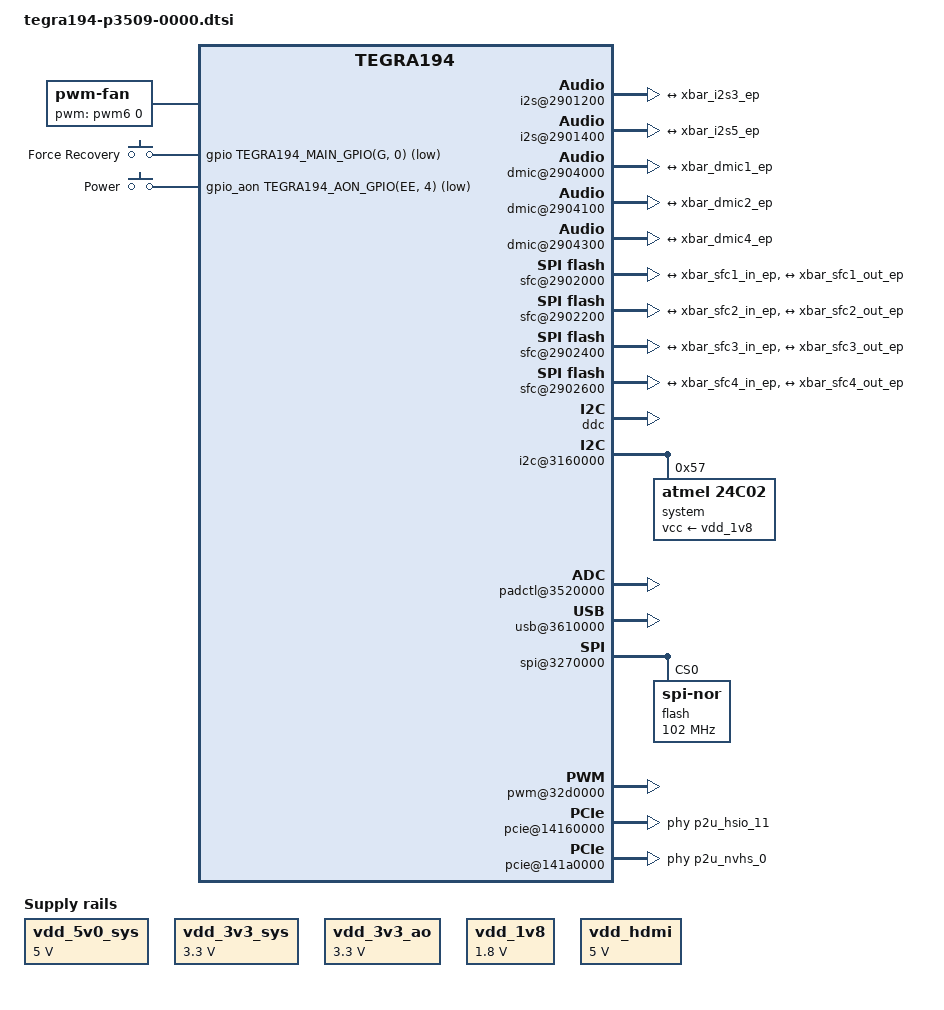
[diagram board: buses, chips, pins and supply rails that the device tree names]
// SPDX-License-Identifier: GPL-2.0

#include <dt-bindings/input/linux-event-codes.h>
#include <dt-bindings/input/gpio-keys.h>

/ {
	bus@0 {
		aconnect@2900000 {
			status = "okay";

			dma-controller@2930000 {
				status = "okay";
			};

			interrupt-controller@2a40000 {
				status = "okay";
			};

			ahub@2900800 {
				status = "okay";

				ports {
					#address-cells = <1>;
					#size-cells = <0>;

					port@0 {
						reg = <0x0>;

						xbar_admaif0_ep: endpoint {
							remote-endpoint = <&admaif0_ep>;
						};
					};

					port@1 {
						reg = <0x1>;

						xbar_admaif1_ep: endpoint {
							remote-endpoint = <&admaif1_ep>;
						};
					};

					port@2 {
						reg = <0x2>;

						xbar_admaif2_ep: endpoint {
							remote-endpoint = <&admaif2_ep>;
						};
					};

					port@3 {
						reg = <0x3>;

						xbar_admaif3_ep: endpoint {
							remote-endpoint = <&admaif3_ep>;
						};
					};

					port@4 {
						reg = <0x4>;

						xbar_admaif4_ep: endpoint {
							remote-endpoint = <&admaif4_ep>;
						};
					};

					port@5 {
						reg = <0x5>;

						xbar_admaif5_ep: endpoint {
							remote-endpoint = <&admaif5_ep>;
						};
					};

					port@6 {
						reg = <0x6>;

						xbar_admaif6_ep: endpoint {
							remote-endpoint = <&admaif6_ep>;
						};
					};

					port@7 {
						reg = <0x7>;

						xbar_admaif7_ep: endpoint {
							remote-endpoint = <&admaif7_ep>;
						};
					};

					port@8 {
						reg = <0x8>;

						xbar_admaif8_ep: endpoint {
							remote-endpoint = <&admaif8_ep>;
						};
					};

					port@9 {
						reg = <0x9>;

						xbar_admaif9_ep: endpoint {
							remote-endpoint = <&admaif9_ep>;
						};
					};

					port@a {
						reg = <0xa>;

						xbar_admaif10_ep: endpoint {
							remote-endpoint = <&admaif10_ep>;
						};
					};

					port@b {
						reg = <0xb>;

						xbar_admaif11_ep: endpoint {
							remote-endpoint = <&admaif11_ep>;
						};
					};

					port@c {
						reg = <0xc>;

						xbar_admaif12_ep: endpoint {
							remote-endpoint = <&admaif12_ep>;
						};
					};

					port@d {
						reg = <0xd>;

						xbar_admaif13_ep: endpoint {
							remote-endpoint = <&admaif13_ep>;
						};
					};

					port@e {
						reg = <0xe>;

						xbar_admaif14_ep: endpoint {
							remote-endpoint = <&admaif14_ep>;
						};
					};

					port@f {
						reg = <0xf>;

						xbar_admaif15_ep: endpoint {
							remote-endpoint = <&admaif15_ep>;
						};
					};

					port@10 {
						reg = <0x10>;

						xbar_admaif16_ep: endpoint {
							remote-endpoint = <&admaif16_ep>;
						};
					};

					port@11 {
						reg = <0x11>;

						xbar_admaif17_ep: endpoint {
							remote-endpoint = <&admaif17_ep>;
						};
					};

					port@12 {
						reg = <0x12>;

						xbar_admaif18_ep: endpoint {
							remote-endpoint = <&admaif18_ep>;
						};
					};

					port@13 {
						reg = <0x13>;

						xbar_admaif19_ep: endpoint {
							remote-endpoint = <&admaif19_ep>;
						};
					};

					xbar_i2s3_port: port@16 {
						reg = <0x16>;

						xbar_i2s3_ep: endpoint {
							remote-endpoint = <&i2s3_cif_ep>;
						};
					};

					xbar_i2s5_port: port@18 {
						reg = <0x18>;

						xbar_i2s5_ep: endpoint {
							remote-endpoint = <&i2s5_cif_ep>;
						};
					};

					xbar_dmic1_port: port@1a {
						reg = <0x1a>;

						xbar_dmic1_ep: endpoint {
							remote-endpoint = <&dmic1_cif_ep>;
						};
					};

					xbar_dmic2_port: port@1b {
						reg = <0x1b>;

						xbar_dmic2_ep: endpoint {
							remote-endpoint = <&dmic2_cif_ep>;
						};
					};

					xbar_dmic4_port: port@1d {
						reg = <0x1d>;

						xbar_dmic4_ep: endpoint {
							remote-endpoint = <&dmic4_cif_ep>;
						};
					};

					xbar_dspk1_port: port@1e {
						reg = <0x1e>;

						xbar_dspk1_ep: endpoint {
							remote-endpoint = <&dspk1_cif_ep>;
						};
					};

					xbar_dspk2_port: port@1f {
						reg = <0x1f>;

						xbar_dspk2_ep: endpoint {
							remote-endpoint = <&dspk2_cif_ep>;
						};
					};

					xbar_sfc1_in_port: port@20 {
						reg = <0x20>;

						xbar_sfc1_in_ep: endpoint {
							remote-endpoint = <&sfc1_cif_in_ep>;
						};
					};

					port@21 {
						reg = <0x21>;

						xbar_sfc1_out_ep: endpoint {
							remote-endpoint = <&sfc1_cif_out_ep>;
						};
					};

					xbar_sfc2_in_port: port@22 {
						reg = <0x22>;

						xbar_sfc2_in_ep: endpoint {
							remote-endpoint = <&sfc2_cif_in_ep>;
						};
					};

					port@23 {
						reg = <0x23>;

						xbar_sfc2_out_ep: endpoint {
							remote-endpoint = <&sfc2_cif_out_ep>;
						};
					};

					xbar_sfc3_in_port: port@24 {
						reg = <0x24>;

						xbar_sfc3_in_ep: endpoint {
							remote-endpoint = <&sfc3_cif_in_ep>;
						};
					};

					port@25 {
						reg = <0x25>;

						xbar_sfc3_out_ep: endpoint {
							remote-endpoint = <&sfc3_cif_out_ep>;
						};
					};

					xbar_sfc4_in_port: port@26 {
						reg = <0x26>;

						xbar_sfc4_in_ep: endpoint {
							remote-endpoint = <&sfc4_cif_in_ep>;
						};
					};

					port@27 {
						reg = <0x27>;

						xbar_sfc4_out_ep: endpoint {
							remote-endpoint = <&sfc4_cif_out_ep>;
						};
					};

					xbar_mvc1_in_port: port@28 {
						reg = <0x28>;

						xbar_mvc1_in_ep: endpoint {
							remote-endpoint = <&mvc1_cif_in_ep>;
						};
					};

					port@29 {
						reg = <0x29>;

						xbar_mvc1_out_ep: endpoint {
							remote-endpoint = <&mvc1_cif_out_ep>;
						};
					};

					xbar_mvc2_in_port: port@2a {
						reg = <0x2a>;

						xbar_mvc2_in_ep: endpoint {
							remote-endpoint = <&mvc2_cif_in_ep>;
						};
					};

					port@2b {
						reg = <0x2b>;

						xbar_mvc2_out_ep: endpoint {
							remote-endpoint = <&mvc2_cif_out_ep>;
						};
					};

					xbar_amx1_in1_port: port@2c {
						reg = <0x2c>;

						xbar_amx1_in1_ep: endpoint {
							remote-endpoint = <&amx1_in1_ep>;
						};
					};

					xbar_amx1_in2_port: port@2d {
						reg = <0x2d>;

						xbar_amx1_in2_ep: endpoint {
							remote-endpoint = <&amx1_in2_ep>;
						};
					};

					xbar_amx1_in3_port: port@2e {
						reg = <0x2e>;

						xbar_amx1_in3_ep: endpoint {
							remote-endpoint = <&amx1_in3_ep>;
						};
					};

					xbar_amx1_in4_port: port@2f {
						reg = <0x2f>;

						xbar_amx1_in4_ep: endpoint {
							remote-endpoint = <&amx1_in4_ep>;
						};
					};

					port@30 {
						reg = <0x30>;

						xbar_amx1_out_ep: endpoint {
							remote-endpoint = <&amx1_out_ep>;
						};
					};

					xbar_amx2_in1_port: port@31 {
						reg = <0x31>;

						xbar_amx2_in1_ep: endpoint {
							remote-endpoint = <&amx2_in1_ep>;
						};
					};

					xbar_amx2_in2_port: port@32 {
						reg = <0x32>;

						xbar_amx2_in2_ep: endpoint {
							remote-endpoint = <&amx2_in2_ep>;
						};
					};

					xbar_amx2_in3_port: port@33 {
						reg = <0x33>;

						xbar_amx2_in3_ep: endpoint {
							remote-endpoint = <&amx2_in3_ep>;
						};
					};

					xbar_amx2_in4_port: port@34 {
						reg = <0x34>;

						xbar_amx2_in4_ep: endpoint {
							remote-endpoint = <&amx2_in4_ep>;
						};
					};

					port@35 {
						reg = <0x35>;

						xbar_amx2_out_ep: endpoint {
							remote-endpoint = <&amx2_out_ep>;
						};
					};

					xbar_amx3_in1_port: port@36 {
						reg = <0x36>;

						xbar_amx3_in1_ep: endpoint {
							remote-endpoint = <&amx3_in1_ep>;
						};
					};

					xbar_amx3_in2_port: port@37 {
						reg = <0x37>;

						xbar_amx3_in2_ep: endpoint {
							remote-endpoint = <&amx3_in2_ep>;
						};
					};

					xbar_amx3_in3_port: port@38 {
						reg = <0x38>;

						xbar_amx3_in3_ep: endpoint {
							remote-endpoint = <&amx3_in3_ep>;
						};
					};

					xbar_amx3_in4_port: port@39 {
						reg = <0x39>;

						xbar_amx3_in4_ep: endpoint {
							remote-endpoint = <&amx3_in4_ep>;
						};
					};

					port@3a {
						reg = <0x3a>;

						xbar_amx3_out_ep: endpoint {
							remote-endpoint = <&amx3_out_ep>;
						};
					};

					xbar_amx4_in1_port: port@3b {
						reg = <0x3b>;

						xbar_amx4_in1_ep: endpoint {
							remote-endpoint = <&amx4_in1_ep>;
						};
					};

					xbar_amx4_in2_port: port@3c {
						reg = <0x3c>;

						xbar_amx4_in2_ep: endpoint {
							remote-endpoint = <&amx4_in2_ep>;
						};
					};

					xbar_amx4_in3_port: port@3d {
						reg = <0x3d>;

						xbar_amx4_in3_ep: endpoint {
							remote-endpoint = <&amx4_in3_ep>;
						};
					};

					xbar_amx4_in4_port: port@3e {
						reg = <0x3e>;

						xbar_amx4_in4_ep: endpoint {
							remote-endpoint = <&amx4_in4_ep>;
						};
					};

					port@3f {
						reg = <0x3f>;

						xbar_amx4_out_ep: endpoint {
							remote-endpoint = <&amx4_out_ep>;
						};
					};

					xbar_adx1_in_port: port@40 {
						reg = <0x40>;

						xbar_adx1_in_ep: endpoint {
							remote-endpoint = <&adx1_in_ep>;
						};
					};

					port@41 {
						reg = <0x41>;

						xbar_adx1_out1_ep: endpoint {
							remote-endpoint = <&adx1_out1_ep>;
						};
					};

					port@42 {
						reg = <0x42>;

						xbar_adx1_out2_ep: endpoint {
							remote-endpoint = <&adx1_out2_ep>;
						};
					};

					port@43 {
						reg = <0x43>;

						xbar_adx1_out3_ep: endpoint {
							remote-endpoint = <&adx1_out3_ep>;
						};
					};

					port@44 {
						reg = <0x44>;

						xbar_adx1_out4_ep: endpoint {
							remote-endpoint = <&adx1_out4_ep>;
						};
					};

					xbar_adx2_in_port: port@45 {
						reg = <0x45>;

						xbar_adx2_in_ep: endpoint {
							remote-endpoint = <&adx2_in_ep>;
						};
					};

					port@46 {
						reg = <0x46>;

						xbar_adx2_out1_ep: endpoint {
							remote-endpoint = <&adx2_out1_ep>;
						};
					};

					port@47 {
						reg = <0x47>;

						xbar_adx2_out2_ep: endpoint {
							remote-endpoint = <&adx2_out2_ep>;
						};
					};

					port@48 {
						reg = <0x48>;

						xbar_adx2_out3_ep: endpoint {
							remote-endpoint = <&adx2_out3_ep>;
						};
					};

					port@49 {
						reg = <0x49>;

						xbar_adx2_out4_ep: endpoint {
							remote-endpoint = <&adx2_out4_ep>;
						};
					};

					xbar_adx3_in_port: port@4a {
						reg = <0x4a>;

						xbar_adx3_in_ep: endpoint {
							remote-endpoint = <&adx3_in_ep>;
						};
					};

					port@4b {
						reg = <0x4b>;

						xbar_adx3_out1_ep: endpoint {
							remote-endpoint = <&adx3_out1_ep>;
						};
					};

					port@4c {
						reg = <0x4c>;

						xbar_adx3_out2_ep: endpoint {
							remote-endpoint = <&adx3_out2_ep>;
						};
					};

					port@4d {
						reg = <0x4d>;

						xbar_adx3_out3_ep: endpoint {
							remote-endpoint = <&adx3_out3_ep>;
						};
					};

					port@4e {
						reg = <0x4e>;

						xbar_adx3_out4_ep: endpoint {
							remote-endpoint = <&adx3_out4_ep>;
						};
					};

					xbar_adx4_in_port: port@4f {
						reg = <0x4f>;

						xbar_adx4_in_ep: endpoint {
							remote-endpoint = <&adx4_in_ep>;
						};
					};

					port@50 {
						reg = <0x50>;

						xbar_adx4_out1_ep: endpoint {
							remote-endpoint = <&adx4_out1_ep>;
						};
					};

					port@51 {
						reg = <0x51>;

						xbar_adx4_out2_ep: endpoint {
							remote-endpoint = <&adx4_out2_ep>;
						};
					};

					port@52 {
						reg = <0x52>;

						xbar_adx4_out3_ep: endpoint {
							remote-endpoint = <&adx4_out3_ep>;
						};
					};

					port@53 {
						reg = <0x53>;

						xbar_adx4_out4_ep: endpoint {
							remote-endpoint = <&adx4_out4_ep>;
						};
					};

					xbar_mixer_in1_port: port@54 {
						reg = <0x54>;

						xbar_mixer_in1_ep: endpoint {
							remote-endpoint = <&mixer_in1_ep>;
						};
					};

					xbar_mixer_in2_port: port@55 {
						reg = <0x55>;

						xbar_mixer_in2_ep: endpoint {
							remote-endpoint = <&mixer_in2_ep>;
						};
					};

					xbar_mixer_in3_port: port@56 {
						reg = <0x56>;

						xbar_mixer_in3_ep: endpoint {
							remote-endpoint = <&mixer_in3_ep>;
						};
					};

					xbar_mixer_in4_port: port@57 {
						reg = <0x57>;

						xbar_mixer_in4_ep: endpoint {
							remote-endpoint = <&mixer_in4_ep>;
						};
					};

					xbar_mixer_in5_port: port@58 {
						reg = <0x58>;

						xbar_mixer_in5_ep: endpoint {
							remote-endpoint = <&mixer_in5_ep>;
						};
					};

					xbar_mixer_in6_port: port@59 {
						reg = <0x59>;

						xbar_mixer_in6_ep: endpoint {
							remote-endpoint = <&mixer_in6_ep>;
						};
					};

					xbar_mixer_in7_port: port@5a {
						reg = <0x5a>;

						xbar_mixer_in7_ep: endpoint {
							remote-endpoint = <&mixer_in7_ep>;
						};
					};

					xbar_mixer_in8_port: port@5b {
						reg = <0x5b>;

						xbar_mixer_in8_ep: endpoint {
							remote-endpoint = <&mixer_in8_ep>;
						};
					};

					xbar_mixer_in9_port: port@5c {
						reg = <0x5c>;

						xbar_mixer_in9_ep: endpoint {
							remote-endpoint = <&mixer_in9_ep>;
						};
					};

					xbar_mixer_in10_port: port@5d {
						reg = <0x5d>;

						xbar_mixer_in10_ep: endpoint {
							remote-endpoint = <&mixer_in10_ep>;
						};
					};

					port@5e {
						reg = <0x5e>;

						xbar_mixer_out1_ep: endpoint {
							remote-endpoint = <&mixer_out1_ep>;
						};
					};

					port@5f {
						reg = <0x5f>;

						xbar_mixer_out2_ep: endpoint {
							remote-endpoint = <&mixer_out2_ep>;
						};
					};

					port@60 {
						reg = <0x60>;

						xbar_mixer_out3_ep: endpoint {
							remote-endpoint = <&mixer_out3_ep>;
						};
					};

					port@61 {
						reg = <0x61>;

						xbar_mixer_out4_ep: endpoint {
							remote-endpoint = <&mixer_out4_ep>;
						};
					};

					port@62 {
						reg = <0x62>;

						xbar_mixer_out5_ep: endpoint {
							remote-endpoint = <&mixer_out5_ep>;
						};
					};
				};

				admaif@290f000 {
					status = "okay";

					ports {
						#address-cells = <1>;
						#size-cells = <0>;

						admaif0_port: port@0 {
							reg = <0x0>;

							admaif0_ep: endpoint {
								remote-endpoint = <&xbar_admaif0_ep>;
							};
						};

						admaif1_port: port@1 {
							reg = <0x1>;

							admaif1_ep: endpoint {
								remote-endpoint = <&xbar_admaif1_ep>;
							};
						};

						admaif2_port: port@2 {
							reg = <0x2>;

							admaif2_ep: endpoint {
								remote-endpoint = <&xbar_admaif2_ep>;
							};
						};

						admaif3_port: port@3 {
							reg = <0x3>;

							admaif3_ep: endpoint {
								remote-endpoint = <&xbar_admaif3_ep>;
							};
						};

						admaif4_port: port@4 {
							reg = <0x4>;

							admaif4_ep: endpoint {
								remote-endpoint = <&xbar_admaif4_ep>;
							};
						};

						admaif5_port: port@5 {
							reg = <0x5>;

							admaif5_ep: endpoint {
								remote-endpoint = <&xbar_admaif5_ep>;
							};
						};

						admaif6_port: port@6 {
							reg = <0x6>;

							admaif6_ep: endpoint {
								remote-endpoint = <&xbar_admaif6_ep>;
							};
						};

						admaif7_port: port@7 {
							reg = <0x7>;

							admaif7_ep: endpoint {
								remote-endpoint = <&xbar_admaif7_ep>;
							};
						};

						admaif8_port: port@8 {
							reg = <0x8>;

							admaif8_ep: endpoint {
								remote-endpoint = <&xbar_admaif8_ep>;
							};
						};

						admaif9_port: port@9 {
							reg = <0x9>;

							admaif9_ep: endpoint {
								remote-endpoint = <&xbar_admaif9_ep>;
							};
						};

						admaif10_port: port@a {
							reg = <0xa>;

							admaif10_ep: endpoint {
								remote-endpoint = <&xbar_admaif10_ep>;
							};
						};

						admaif11_port: port@b {
							reg = <0xb>;

							admaif11_ep: endpoint {
								remote-endpoint = <&xbar_admaif11_ep>;
							};
						};

						admaif12_port: port@c {
							reg = <0xc>;

							admaif12_ep: endpoint {
								remote-endpoint = <&xbar_admaif12_ep>;
							};
						};

						admaif13_port: port@d {
							reg = <0xd>;

							admaif13_ep: endpoint {
								remote-endpoint = <&xbar_admaif13_ep>;
							};
						};

						admaif14_port: port@e {
							reg = <0xe>;

							admaif14_ep: endpoint {
								remote-endpoint = <&xbar_admaif14_ep>;
							};
						};

						admaif15_port: port@f {
							reg = <0xf>;

							admaif15_ep: endpoint {
								remote-endpoint = <&xbar_admaif15_ep>;
							};
						};

						admaif16_port: port@10 {
							reg = <0x10>;

							admaif16_ep: endpoint {
								remote-endpoint = <&xbar_admaif16_ep>;
							};
						};

						admaif17_port: port@11 {
							reg = <0x11>;

							admaif17_ep: endpoint {
								remote-endpoint = <&xbar_admaif17_ep>;
							};
						};

						admaif18_port: port@12 {
							reg = <0x12>;

							admaif18_ep: endpoint {
								remote-endpoint = <&xbar_admaif18_ep>;
							};
						};

						admaif19_port: port@13 {
							reg = <0x13>;

							admaif19_ep: endpoint {
								remote-endpoint = <&xbar_admaif19_ep>;
							};
						};
					};
				};

				i2s@2901200 {
					status = "okay";

					ports {
						#address-cells = <1>;
						#size-cells = <0>;

						port@0 {
							reg = <0>;

							i2s3_cif_ep: endpoint {
								remote-endpoint = <&xbar_i2s3_ep>;
							};
						};

						i2s3_port: port@1 {
							reg = <1>;

							i2s3_dap_ep: endpoint {
								dai-format = "i2s";
								/* Place holder for external Codec */
							};
						};
					};
				};

				i2s@2901400 {
					status = "okay";

					ports {
						#address-cells = <1>;
						#size-cells = <0>;

						port@0 {
							reg = <0>;

							i2s5_cif_ep: endpoint {
								remote-endpoint = <&xbar_i2s5_ep>;
							};
						};

						i2s5_port: port@1 {
							reg = <1>;

							i2s5_dap_ep: endpoint@0 {
								dai-format = "i2s";
								/* Place holder for external Codec */
							};
						};
					};
				};

				dmic@2904000 {
					status = "okay";

					ports {
						#address-cells = <1>;
						#size-cells = <0>;

						port@0 {
							reg = <0>;

							dmic1_cif_ep: endpoint {
								remote-endpoint = <&xbar_dmic1_ep>;
							};
						};

						dmic1_port: port@1 {
							reg = <1>;

							dmic1_dap_ep: endpoint {
								/* Place holder for external Codec */
							};
						};
					};
				};

				dmic@2904100 {
					status = "okay";

					ports {
						#address-cells = <1>;
						#size-cells = <0>;

						port@0 {
							reg = <0>;

							dmic2_cif_ep: endpoint {
								remote-endpoint = <&xbar_dmic2_ep>;
							};
						};

						dmic2_port: port@1 {
							reg = <1>;

							dmic2_dap_ep: endpoint {
								/* Place holder for external Codec */
							};
						};
					};
				};

				dmic@2904300 {
					status = "okay";

					ports {
						#address-cells = <1>;
						#size-cells = <0>;

						port@0 {
							reg = <0>;

							dmic4_cif_ep: endpoint {
								remote-endpoint = <&xbar_dmic4_ep>;
							};
						};

						dmic4_port: port@1 {
							reg = <1>;

							dmic4_dap_ep: endpoint {
								/* Place holder for external Codec */
							};
						};
					};
				};

				dspk@2905000 {
					status = "okay";

					ports {
						#address-cells = <1>;
						#size-cells = <0>;

						port@0 {
							reg = <0>;

							dspk1_cif_ep: endpoint {
								remote-endpoint = <&xbar_dspk1_ep>;
							};
						};

						dspk1_port: port@1 {
							reg = <1>;

							dspk1_dap_ep: endpoint {
								/* Place holder for external Codec */
							};
						};
					};
				};

				dspk@2905100 {
					status = "okay";

					ports {
						#address-cells = <1>;
						#size-cells = <0>;

						port@0 {
							reg = <0>;

							dspk2_cif_ep: endpoint {
								remote-endpoint = <&xbar_dspk2_ep>;
							};
						};

						dspk2_port: port@1 {
							reg = <1>;

							dspk2_dap_ep: endpoint {
								/* Place holder for external Codec */
							};
						};
					};
				};

				sfc@2902000 {
					status = "okay";

					ports {
						#address-cells = <1>;
						#size-cells = <0>;

						port@0 {
							reg = <0>;

							sfc1_cif_in_ep: endpoint {
								remote-endpoint = <&xbar_sfc1_in_ep>;
								convert-rate = <44100>;
							};
						};

						sfc1_out_port: port@1 {
							reg = <1>;

							sfc1_cif_out_ep: endpoint {
								remote-endpoint = <&xbar_sfc1_out_ep>;
								convert-rate = <48000>;
							};
						};
					};
				};

				sfc@2902200 {
					status = "okay";

					ports {
						#address-cells = <1>;
						#size-cells = <0>;

						port@0 {
							reg = <0>;

							sfc2_cif_in_ep: endpoint {
								remote-endpoint = <&xbar_sfc2_in_ep>;
							};
						};

						sfc2_out_port: port@1 {
							reg = <1>;

							sfc2_cif_out_ep: endpoint {
								remote-endpoint = <&xbar_sfc2_out_ep>;
							};
						};
					};
				};

				sfc@2902400 {
					status = "okay";

					ports {
						#address-cells = <1>;
						#size-cells = <0>;

						port@0 {
							reg = <0>;

							sfc3_cif_in_ep: endpoint {
								remote-endpoint = <&xbar_sfc3_in_ep>;
							};
						};

						sfc3_out_port: port@1 {
							reg = <1>;

							sfc3_cif_out_ep: endpoint {
								remote-endpoint = <&xbar_sfc3_out_ep>;
							};
						};
					};
				};

				sfc@2902600 {
					status = "okay";

					ports {
						#address-cells = <1>;
						#size-cells = <0>;

						port@0 {
							reg = <0>;

							sfc4_cif_in_ep: endpoint {
								remote-endpoint = <&xbar_sfc4_in_ep>;
							};
						};

						sfc4_out_port: port@1 {
							reg = <1>;

							sfc4_cif_out_ep: endpoint {
								remote-endpoint = <&xbar_sfc4_out_ep>;
							};
						};
					};
				};

				mvc@290a000 {
					status = "okay";

					ports {
						#address-cells = <1>;
						#size-cells = <0>;

						port@0 {
							reg = <0>;

							mvc1_cif_in_ep: endpoint {
								remote-endpoint = <&xbar_mvc1_in_ep>;
							};
						};

						mvc1_out_port: port@1 {
							reg = <1>;

							mvc1_cif_out_ep: endpoint {
								remote-endpoint = <&xbar_mvc1_out_ep>;
							};
						};
					};
				};

				mvc@290a200 {
					status = "okay";

					ports {
						#address-cells = <1>;
						#size-cells = <0>;

						port@0 {
							reg = <0>;

							mvc2_cif_in_ep: endpoint {
								remote-endpoint = <&xbar_mvc2_in_ep>;
							};
						};

						mvc2_out_port: port@1 {
							reg = <1>;

							mvc2_cif_out_ep: endpoint {
								remote-endpoint = <&xbar_mvc2_out_ep>;
							};
						};
					};
				};

				amx@2903000 {
					status = "okay";

					ports {
						#address-cells = <1>;
						#size-cells = <0>;

						port@0 {
							reg = <0>;

							amx1_in1_ep: endpoint {
								remote-endpoint = <&xbar_amx1_in1_ep>;
							};
						};

						port@1 {
							reg = <1>;

							amx1_in2_ep: endpoint {
								remote-endpoint = <&xbar_amx1_in2_ep>;
							};
						};

						port@2 {
							reg = <2>;

							amx1_in3_ep: endpoint {
								remote-endpoint = <&xbar_amx1_in3_ep>;
							};
						};

						port@3 {
							reg = <3>;

							amx1_in4_ep: endpoint {
								remote-endpoint = <&xbar_amx1_in4_ep>;
							};
						};

						amx1_out_port: port@4 {
							reg = <4>;

							amx1_out_ep: endpoint {
								remote-endpoint = <&xbar_amx1_out_ep>;
							};
						};
					};
				};

				amx@2903100 {
					status = "okay";

					ports {
						#address-cells = <1>;
						#size-cells = <0>;

						port@0 {
							reg = <0>;

							amx2_in1_ep: endpoint {
								remote-endpoint = <&xbar_amx2_in1_ep>;
							};
						};

						port@1 {
							reg = <1>;

							amx2_in2_ep: endpoint {
								remote-endpoint = <&xbar_amx2_in2_ep>;
							};
						};

						amx2_in3_port: port@2 {
							reg = <2>;

							amx2_in3_ep: endpoint {
								remote-endpoint = <&xbar_amx2_in3_ep>;
							};
						};

						amx2_in4_port: port@3 {
							reg = <3>;

							amx2_in4_ep: endpoint {
								remote-endpoint = <&xbar_amx2_in4_ep>;
							};
						};

						amx2_out_port: port@4 {
							reg = <4>;

							amx2_out_ep: endpoint {
								remote-endpoint = <&xbar_amx2_out_ep>;
							};
						};
					};
				};

				amx@2903200 {
					status = "okay";

					ports {
						#address-cells = <1>;
						#size-cells = <0>;

						port@0 {
							reg = <0>;

							amx3_in1_ep: endpoint {
								remote-endpoint = <&xbar_amx3_in1_ep>;
							};
						};

						port@1 {
							reg = <1>;

							amx3_in2_ep: endpoint {
								remote-endpoint = <&xbar_amx3_in2_ep>;
							};
						};

						port@2 {
							reg = <2>;

							amx3_in3_ep: endpoint {
								remote-endpoint = <&xbar_amx3_in3_ep>;
							};
						};

						port@3 {
							reg = <3>;

							amx3_in4_ep: endpoint {
								remote-endpoint = <&xbar_amx3_in4_ep>;
							};
						};

						amx3_out_port: port@4 {
							reg = <4>;

							amx3_out_ep: endpoint {
								remote-endpoint = <&xbar_amx3_out_ep>;
							};
						};
					};
				};

				amx@2903300 {
					status = "okay";

					ports {
						#address-cells = <1>;
						#size-cells = <0>;

						port@0 {
							reg = <0>;

							amx4_in1_ep: endpoint {
								remote-endpoint = <&xbar_amx4_in1_ep>;
							};
						};

						port@1 {
							reg = <1>;

							amx4_in2_ep: endpoint {
								remote-endpoint = <&xbar_amx4_in2_ep>;
							};
						};

						port@2 {
							reg = <2>;

							amx4_in3_ep: endpoint {
								remote-endpoint = <&xbar_amx4_in3_ep>;
							};
						};

						port@3 {
							reg = <3>;

							amx4_in4_ep: endpoint {
								remote-endpoint = <&xbar_amx4_in4_ep>;
							};
						};

						amx4_out_port: port@4 {
							reg = <4>;

							amx4_out_ep: endpoint {
								remote-endpoint = <&xbar_amx4_out_ep>;
							};
						};
					};
				};

				adx@2903800 {
					status = "okay";

					ports {
						#address-cells = <1>;
						#size-cells = <0>;

						port@0 {
							reg = <0>;

							adx1_in_ep: endpoint {
								remote-endpoint = <&xbar_adx1_in_ep>;
							};
						};

						adx1_out1_port: port@1 {
							reg = <1>;

							adx1_out1_ep: endpoint {
								remote-endpoint = <&xbar_adx1_out1_ep>;
							};
						};

						adx1_out2_port: port@2 {
							reg = <2>;

							adx1_out2_ep: endpoint {
								remote-endpoint = <&xbar_adx1_out2_ep>;
							};
						};

						adx1_out3_port: port@3 {
							reg = <3>;

							adx1_out3_ep: endpoint {
								remote-endpoint = <&xbar_adx1_out3_ep>;
							};
						};

						adx1_out4_port: port@4 {
							reg = <4>;

							adx1_out4_ep: endpoint {
								remote-endpoint = <&xbar_adx1_out4_ep>;
							};
						};
					};
				};

				adx@2903900 {
					status = "okay";

					ports {
						#address-cells = <1>;
						#size-cells = <0>;

						port@0 {
							reg = <0>;

							adx2_in_ep: endpoint {
								remote-endpoint = <&xbar_adx2_in_ep>;
							};
						};

						adx2_out1_port: port@1 {
							reg = <1>;

							adx2_out1_ep: endpoint {
								remote-endpoint = <&xbar_adx2_out1_ep>;
							};
						};

						adx2_out2_port: port@2 {
							reg = <2>;

							adx2_out2_ep: endpoint {
								remote-endpoint = <&xbar_adx2_out2_ep>;
							};
						};

						adx2_out3_port: port@3 {
							reg = <3>;

							adx2_out3_ep: endpoint {
								remote-endpoint = <&xbar_adx2_out3_ep>;
							};
						};

						adx2_out4_port: port@4 {
							reg = <4>;

							adx2_out4_ep: endpoint {
								remote-endpoint = <&xbar_adx2_out4_ep>;
							};
						};
					};
				};

				adx@2903a00 {
					status = "okay";

					ports {
						#address-cells = <1>;
						#size-cells = <0>;

						port@0 {
							reg = <0>;

							adx3_in_ep: endpoint {
								remote-endpoint = <&xbar_adx3_in_ep>;
							};
						};

						adx3_out1_port: port@1 {
							reg = <1>;

							adx3_out1_ep: endpoint {
								remote-endpoint = <&xbar_adx3_out1_ep>;
							};
						};

						adx3_out2_port: port@2 {
							reg = <2>;

							adx3_out2_ep: endpoint {
								remote-endpoint = <&xbar_adx3_out2_ep>;
							};
						};

						adx3_out3_port: port@3 {
							reg = <3>;

							adx3_out3_ep: endpoint {
								remote-endpoint = <&xbar_adx3_out3_ep>;
							};
						};

						adx3_out4_port: port@4 {
							reg = <4>;

							adx3_out4_ep: endpoint {
								remote-endpoint = <&xbar_adx3_out4_ep>;
							};
						};
					};
				};

				adx@2903b00 {
					status = "okay";

					ports {
						#address-cells = <1>;
						#size-cells = <0>;

						port@0 {
							reg = <0>;

							adx4_in_ep: endpoint {
								remote-endpoint = <&xbar_adx4_in_ep>;
							};
						};

						adx4_out1_port: port@1 {
							reg = <1>;

							adx4_out1_ep: endpoint {
								remote-endpoint = <&xbar_adx4_out1_ep>;
							};
						};

						adx4_out2_port: port@2 {
							reg = <2>;

							adx4_out2_ep: endpoint {
								remote-endpoint = <&xbar_adx4_out2_ep>;
							};
						};

						adx4_out3_port: port@3 {
							reg = <3>;

							adx4_out3_ep: endpoint {
								remote-endpoint = <&xbar_adx4_out3_ep>;
							};
						};

						adx4_out4_port: port@4 {
							reg = <4>;

							adx4_out4_ep: endpoint {
								remote-endpoint = <&xbar_adx4_out4_ep>;
							};
						};
					};
				};

				amixer@290bb00 {
					status = "okay";

					ports {
						#address-cells = <1>;
						#size-cells = <0>;

						port@0 {
							reg = <0x0>;

							mixer_in1_ep: endpoint {
								remote-endpoint = <&xbar_mixer_in1_ep>;
							};
						};

						port@1 {
							reg = <0x1>;

							mixer_in2_ep: endpoint {
								remote-endpoint = <&xbar_mixer_in2_ep>;
							};
						};

						port@2 {
							reg = <0x2>;

							mixer_in3_ep: endpoint {
								remote-endpoint = <&xbar_mixer_in3_ep>;
							};
						};

						port@3 {
							reg = <0x3>;

							mixer_in4_ep: endpoint {
								remote-endpoint = <&xbar_mixer_in4_ep>;
							};
						};

						port@4 {
							reg = <0x4>;

							mixer_in5_ep: endpoint {
								remote-endpoint = <&xbar_mixer_in5_ep>;
							};
						};

						port@5 {
							reg = <0x5>;

							mixer_in6_ep: endpoint {
								remote-endpoint = <&xbar_mixer_in6_ep>;
							};
						};

						port@6 {
							reg = <0x6>;

							mixer_in7_ep: endpoint {
								remote-endpoint = <&xbar_mixer_in7_ep>;
							};
						};

						port@7 {
							reg = <0x7>;

							mixer_in8_ep: endpoint {
								remote-endpoint = <&xbar_mixer_in8_ep>;
							};
						};

						port@8 {
							reg = <0x8>;

							mixer_in9_ep: endpoint {
								remote-endpoint = <&xbar_mixer_in9_ep>;
							};
						};

						port@9 {
							reg = <0x9>;

							mixer_in10_ep: endpoint {
								remote-endpoint = <&xbar_mixer_in10_ep>;
							};
						};

						mixer_out1_port: port@a {
							reg = <0xa>;

							mixer_out1_ep: endpoint {
								remote-endpoint = <&xbar_mixer_out1_ep>;
							};
						};

						mixer_out2_port: port@b {
							reg = <0xb>;

							mixer_out2_ep: endpoint {
								remote-endpoint = <&xbar_mixer_out2_ep>;
							};
						};

						mixer_out3_port: port@c {
							reg = <0xc>;

							mixer_out3_ep: endpoint {
								remote-endpoint = <&xbar_mixer_out3_ep>;
							};
						};

						mixer_out4_port: port@d {
							reg = <0xd>;

							mixer_out4_ep: endpoint {
								remote-endpoint = <&xbar_mixer_out4_ep>;
							};
						};

						mixer_out5_port: port@e {
							reg = <0xe>;

							mixer_out5_ep: endpoint {
								remote-endpoint = <&xbar_mixer_out5_ep>;
							};
						};
					};
				};
			};
		};

		ddc: i2c@3190000 {
			status = "okay";
		};

		i2c@3160000 {
			eeprom@57 {
				compatible = "atmel,24c02";
				reg = <0x57>;

				label = "system";
				vcc-supply = <&vdd_1v8>;
				address-width = <8>;
				pagesize = <8>;
				size = <256>;
				read-only;
			};
		};

		hda@3510000 {
			nvidia,model = "NVIDIA Jetson Xavier NX HDA";
			status = "okay";
		};

		padctl@3520000 {
			status = "okay";

			pads {
				usb2 {
					lanes {
						usb2-1 {
							status = "okay";
						};

						usb2-2 {
							status = "okay";
						};
					};
				};

				usb3 {
					lanes {
						usb3-2 {
							status = "okay";
						};
					};
				};
			};

			ports {
				usb2-1 {
					mode = "host";
					status = "okay";
				};

				usb2-2 {
					mode = "host";
					vbus-supply = <&vdd_5v0_sys>;
					status = "okay";
				};

				usb3-2 {
					nvidia,usb2-companion = <1>;
					vbus-supply = <&vdd_5v0_sys>;
					status = "okay";
				};
			};
		};

		usb@3610000 {
			status = "okay";

			phys =	<&{/bus@0/padctl@3520000/pads/usb2/lanes/usb2-1}>,
				<&{/bus@0/padctl@3520000/pads/usb2/lanes/usb2-2}>,
				<&{/bus@0/padctl@3520000/pads/usb3/lanes/usb3-2}>;
			phy-names = "usb2-1", "usb2-2", "usb3-2";
		};

		spi@3270000 {
			status = "okay";

			flash@0 {
				compatible = "spi-nor";
				reg = <0>;
				spi-max-frequency = <102000000>;
				spi-tx-bus-width = <4>;
				spi-rx-bus-width = <4>;
			};
		};

		pwm@32d0000 {
			status = "okay";
		};

		host1x@13e00000 {
			display-hub@15200000 {
				status = "okay";
			};

			dpaux@155c0000 {
				status = "okay";
			};

			dpaux@155d0000 {
				status = "okay";
			};

			/* DP0 */
			sor@15b00000 {
				status = "okay";

				avdd-io-hdmi-dp-supply = <&vdd_1v0>;
				vdd-hdmi-dp-pll-supply = <&vdd_1v8hs>;

				nvidia,dpaux = <&dpaux0>;
			};

			/* HDMI */
			sor@15b40000 {
				status = "okay";

				avdd-io-hdmi-dp-supply = <&vdd_1v0>;
				vdd-hdmi-dp-pll-supply = <&vdd_1v8hs>;
				hdmi-supply = <&vdd_hdmi>;

				nvidia,ddc-i2c-bus = <&ddc>;
				nvidia,hpd-gpio = <&gpio TEGRA194_MAIN_GPIO(M, 1)
							 GPIO_ACTIVE_LOW>;
			};
		};
	};

	pcie@14160000 {
		status = "okay";

		vddio-pex-ctl-supply = <&vdd_1v8ao>;

		phys = <&p2u_hsio_11>;
		phy-names = "p2u-0";
	};

	pcie@141a0000 {
		status = "okay";

		vddio-pex-ctl-supply = <&vdd_1v8ao>;

		phys = <&p2u_nvhs_0>, <&p2u_nvhs_1>, <&p2u_nvhs_2>,
		       <&p2u_nvhs_3>, <&p2u_nvhs_4>, <&p2u_nvhs_5>,
		       <&p2u_nvhs_6>, <&p2u_nvhs_7>;

		phy-names = "p2u-0", "p2u-1", "p2u-2", "p2u-3", "p2u-4",
			    "p2u-5", "p2u-6", "p2u-7";
	};

	pcie-ep@141a0000 {
		status = "disabled";

		vddio-pex-ctl-supply = <&vdd_1v8ao>;

		reset-gpios = <&gpio TEGRA194_MAIN_GPIO(GG, 1) GPIO_ACTIVE_LOW>;

		nvidia,refclk-select-gpios = <&gpio_aon TEGRA194_AON_GPIO(AA, 5)
					      GPIO_ACTIVE_HIGH>;

		phys = <&p2u_nvhs_0>, <&p2u_nvhs_1>, <&p2u_nvhs_2>,
		       <&p2u_nvhs_3>, <&p2u_nvhs_4>, <&p2u_nvhs_5>,
		       <&p2u_nvhs_6>, <&p2u_nvhs_7>;

		phy-names = "p2u-0", "p2u-1", "p2u-2", "p2u-3", "p2u-4",
			    "p2u-5", "p2u-6", "p2u-7";
	};

	fan: fan {
		compatible = "pwm-fan";
		pwms = <&pwm6 0 45334>;

		cooling-levels = <0 64 128 255>;
		#cooling-cells = <2>;
	};

	gpio-keys {
		compatible = "gpio-keys";

		force-recovery {
			label = "Force Recovery";
			gpios = <&gpio TEGRA194_MAIN_GPIO(G, 0)
				       GPIO_ACTIVE_LOW>;
			linux,input-type = <EV_KEY>;
			linux,code = <KEY_SLEEP>;
			debounce-interval = <10>;
		};

		power {
			label = "Power";
			gpios = <&gpio_aon TEGRA194_AON_GPIO(EE, 4)
					   GPIO_ACTIVE_LOW>;
			linux,input-type = <EV_KEY>;
			linux,code = <KEY_POWER>;
			debounce-interval = <10>;
			wakeup-event-action = <EV_ACT_ASSERTED>;
			wakeup-source;
		};
	};

	vdd_5v0_sys: regulator@100 {
		compatible = "regulator-fixed";
		regulator-name = "VDD_5V_SYS";
		regulator-min-microvolt = <5000000>;
		regulator-max-microvolt = <5000000>;
		regulator-always-on;
		regulator-boot-on;
	};

	vdd_3v3_sys: regulator@101 {
		compatible = "regulator-fixed";
		regulator-name = "VDD_3V3_SYS";
		regulator-min-microvolt = <3300000>;
		regulator-max-microvolt = <3300000>;
		regulator-always-on;
		regulator-boot-on;
	};

	vdd_3v3_ao: regulator@102 {
		compatible = "regulator-fixed";
		regulator-name = "VDD_3V3_AO";
		regulator-min-microvolt = <3300000>;
		regulator-max-microvolt = <3300000>;
		regulator-always-on;
		regulator-boot-on;
	};

	vdd_1v8: regulator@103 {
		compatible = "regulator-fixed";
		regulator-name = "VDD_1V8";
		regulator-min-microvolt = <1800000>;
		regulator-max-microvolt = <1800000>;
		regulator-always-on;
		regulator-boot-on;
	};

	vdd_hdmi: regulator@104 {
		compatible = "regulator-fixed";
		regulator-name = "VDD_5V0_HDMI_CON";
		regulator-min-microvolt = <5000000>;
		regulator-max-microvolt = <5000000>;
		regulator-always-on;
		regulator-boot-on;
	};

	sound {
		compatible = "nvidia,tegra186-audio-graph-card";
		status = "okay";

		dais = /* ADMAIF (FE) Ports */
		       <&admaif0_port>, <&admaif1_port>, <&admaif2_port>, <&admaif3_port>,
		       <&admaif4_port>, <&admaif5_port>, <&admaif6_port>, <&admaif7_port>,
		       <&admaif8_port>, <&admaif9_port>, <&admaif10_port>, <&admaif11_port>,
		       <&admaif12_port>, <&admaif13_port>, <&admaif14_port>, <&admaif15_port>,
		       <&admaif16_port>, <&admaif17_port>, <&admaif18_port>, <&admaif19_port>,
		       /* XBAR Ports */
		       <&xbar_i2s3_port>, <&xbar_i2s5_port>,
		       <&xbar_dmic1_port>, <&xbar_dmic2_port>, <&xbar_dmic4_port>,
		       <&xbar_dspk1_port>, <&xbar_dspk2_port>,
		       <&xbar_sfc1_in_port>, <&xbar_sfc2_in_port>,
		       <&xbar_sfc3_in_port>, <&xbar_sfc4_in_port>,
		       <&xbar_mvc1_in_port>, <&xbar_mvc2_in_port>,
		       <&xbar_amx1_in1_port>, <&xbar_amx1_in2_port>,
		       <&xbar_amx1_in3_port>, <&xbar_amx1_in4_port>,
		       <&xbar_amx2_in1_port>, <&xbar_amx2_in2_port>,
		       <&xbar_amx2_in3_port>, <&xbar_amx2_in4_port>,
		       <&xbar_amx3_in1_port>, <&xbar_amx3_in2_port>,
		       <&xbar_amx3_in3_port>, <&xbar_amx3_in4_port>,
		       <&xbar_amx4_in1_port>, <&xbar_amx4_in2_port>,
		       <&xbar_amx4_in3_port>, <&xbar_amx4_in4_port>,
		       <&xbar_adx1_in_port>, <&xbar_adx2_in_port>,
		       <&xbar_adx3_in_port>, <&xbar_adx4_in_port>,
		       <&xbar_mixer_in1_port>, <&xbar_mixer_in2_port>,
		       <&xbar_mixer_in3_port>, <&xbar_mixer_in4_port>,
		       <&xbar_mixer_in5_port>, <&xbar_mixer_in6_port>,
		       <&xbar_mixer_in7_port>, <&xbar_mixer_in8_port>,
		       <&xbar_mixer_in9_port>, <&xbar_mixer_in10_port>,
		       /* HW accelerators */
		       <&sfc1_out_port>, <&sfc2_out_port>,
		       <&sfc3_out_port>, <&sfc4_out_port>,
		       <&mvc1_out_port>, <&mvc2_out_port>,
		       <&amx1_out_port>, <&amx2_out_port>,
		       <&amx3_out_port>, <&amx4_out_port>,
		       <&adx1_out1_port>, <&adx1_out2_port>,
		       <&adx1_out3_port>, <&adx1_out4_port>,
		       <&adx2_out1_port>, <&adx2_out2_port>,
		       <&adx2_out3_port>, <&adx2_out4_port>,
		       <&adx3_out1_port>, <&adx3_out2_port>,
		       <&adx3_out3_port>, <&adx3_out4_port>,
		       <&adx4_out1_port>, <&adx4_out2_port>,
		       <&adx4_out3_port>, <&adx4_out4_port>,
		       <&mixer_out1_port>, <&mixer_out2_port>,
		       <&mixer_out3_port>, <&mixer_out4_port>,
		       <&mixer_out5_port>,
		       /* BE I/O Ports */
		       <&i2s3_port>, <&i2s5_port>,
		       <&dmic1_port>, <&dmic2_port>, <&dmic4_port>,
		       <&dspk1_port>, <&dspk2_port>;

		label = "NVIDIA Jetson Xavier NX APE";
	};

	thermal-zones {
		cpu {
			polling-delay = <0>;
			polling-delay-passive = <500>;
			status = "okay";

			trips {
				cpu_trip_critical: critical {
					temperature = <96500>;
					hysteresis = <0>;
					type = "critical";
				};

				cpu_trip_hot: hot {
					temperature = <70000>;
					hysteresis = <2000>;
					type = "hot";
				};

				cpu_trip_active: active {
					temperature = <50000>;
					hysteresis = <2000>;
					type = "active";
				};

				cpu_trip_passive: passive {
					temperature = <30000>;
					hysteresis = <2000>;
					type = "passive";
				};
			};

			cooling-maps {
				cpu-critical {
					cooling-device = <&fan 3 3>;
					trip = <&cpu_trip_critical>;
				};

				cpu-hot {
					cooling-device = <&fan 2 2>;
					trip = <&cpu_trip_hot>;
				};

				cpu-active {
					cooling-device = <&fan 1 1>;
					trip = <&cpu_trip_active>;
				};

				cpu-passive {
					cooling-device = <&fan 0 0>;
					trip = <&cpu_trip_passive>;
				};
			};
		};

		gpu {
			polling-delay = <0>;
			polling-delay-passive = <500>;
			status = "okay";

			trips {
				gpu_alert0: critical {
					temperature = <99000>;
					hysteresis = <0>;
					type = "critical";
				};
			};
		};

		aux {
			polling-delay = <0>;
			polling-delay-passive = <500>;
			status = "okay";

			trips {
				aux_alert0: critical {
					temperature = <90000>;
					hysteresis = <0>;
					type = "critical";
				};
			};
		};
	};
};
